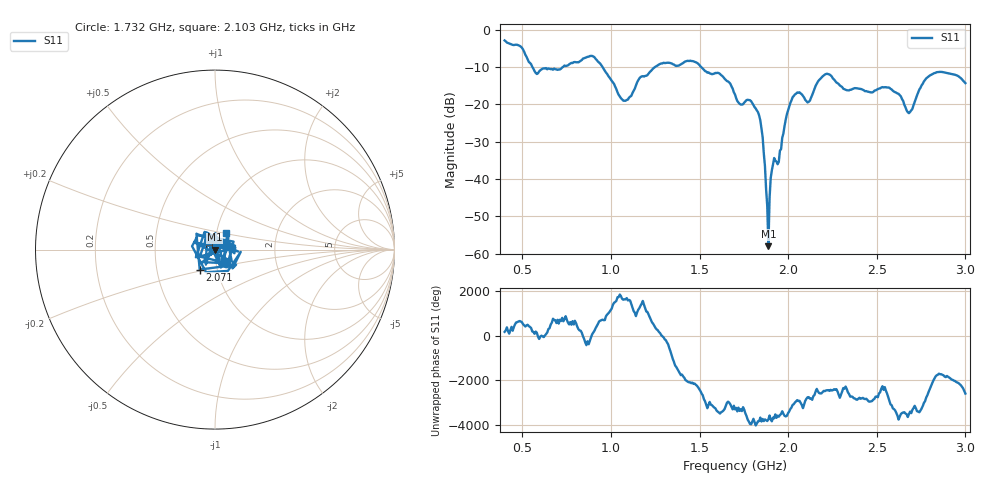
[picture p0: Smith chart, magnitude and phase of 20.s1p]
!Created with skrf (http://scikit-rf.org).
# Hz S RI R 50.0
!freq ReS11 ImS11
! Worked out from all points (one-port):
!   401 points, 400 MHz to 3 GHz, reference 50 ohm
!   lowest |S11| = -58.0 dB at 1.889 GHz (marker M1), VSWR 1.00, Z = 49.9 - j0.0783 ohm
!   |S11| at or under -10 dB: 556.7 MHz to 729.2 MHz (172.5 MHz wide, 26.8 % of centre); 952.6 MHz to 1.249 GHz (296.4 MHz wide, 26.9 % of centre); 1.509 GHz to end of sweep
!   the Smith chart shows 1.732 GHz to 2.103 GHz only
!   S11 on the Smith chart (normalised r, x): 1.732 GHz: 1.12, -0.17; 2.071 GHz: 0.82, -0.19; 2.103 GHz: 1.11, +0.21
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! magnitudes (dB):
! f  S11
! 400 MHz  -2.9
! 491 MHz  -4.5
! 575.5 MHz  -11.6
! 725 MHz  -10.1
! 900.5 MHz  -7.2
! 1.05 GHz  -17.9
! 1.095 GHz  -18.8
! 1.271 GHz  -9.3
! 1.375 GHz  -9.7
! 1.609 GHz  -11.7
! 1.7 GHz  -17.4
! 1.732 GHz  -20.1
! 1.784 GHz  -18.9
! 1.837 GHz  -23.0
! 1.856 GHz  -28.8
! 1.875 GHz  -42.8
! 1.889 GHz  -58.0
! 1.915 GHz  -36.1
! 1.947 GHz  -35.4
! 2.025 GHz  -18.1
! 2.071 GHz  -17.1
! 2.103 GHz  -19.1
! 2.213 GHz  -11.9
! 2.35 GHz  -16.1
! 2.564 GHz  -15.5
! 2.675 GHz  -22.1
! 2.812 GHz  -12.0
! 3 GHz  -14.3
